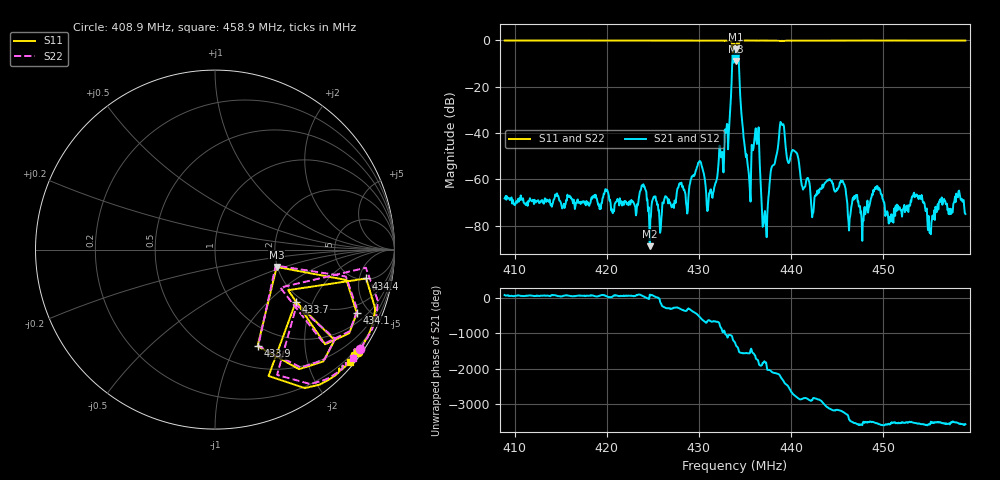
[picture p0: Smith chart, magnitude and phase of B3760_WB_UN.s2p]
! S-Parameter for B3760 in Touchstone format with Magnitude (lin) and Phase
! Normalised impedance: 50 Ohm. Measurement system: 50 Ohm. Ta=20°C
! B3760_50.S2P not matched. Measurement full 2-port calibrated incl. Port.Ext.
! Start: 408.920MHz, Stop: 458.920MHz, Span 50MHz 801 Pts., Step 0.062.5MHz.
! Date: 01/02/04 - EPCOS SAW CE AE PD; AGL
! Pinning according data sheet recommendation: IN P2, OUT P5, other GND
# MHz  S  MA  R  50
!  Freq  S11  S21  S12  S22
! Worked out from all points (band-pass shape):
!   801 points, 408.9 MHz to 458.9 MHz, reference 50 ohm
!   highest |S21| = -3.76 dB at 434 MHz (marker M1); lowest = -88.8 dB at 424.7 MHz (marker M2)
!   |S21| within 3 dB of the highest: 433.664 MHz to 433.6803 MHz (16.34 kHz wide, 0.00377 % of centre); 433.8872 MHz to 434.05 MHz (162.8 kHz wide, 0.0375 % of centre) (the widest 2 of 3)
!   lowest |S11| = -8.9 dB at 434 MHz (marker M3), VSWR 2.11, Z = 99.1 - j21.9 ohm
!   |S11| at or under -10 dB: nowhere
!   |S22| runs from -9.1 to -0.1 dB; largest |S21 - S12| = 0
!   S11 on the Smith chart (normalised r, x): 408.9 MHz: 0.10, -3.10; 433.7 MHz: 1.85, -1.50; 433.9 MHz: 0.75, -1.23; 434.1 MHz: 1.48, -4.18; 434.4 MHz: 5.21, -6.35; 458.9 MHz: 0.09, -2.77
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408.92  0.9807 -35.7  0.0003867 82.4  0.0003867 82.4  0.9801 -34.5
417.295  0.9821 -36.6  0.0003079 62.9  0.0003079 62.9  0.9796 -35.0
424.67  0.9805 -37.9  3.615e-05 92.5  3.615e-05 92.5  0.9789 -36.1
425.6075  0.9797 -37.7  0.00021 6.0  0.00021 6.0  0.9789 -36.2
430.045  0.9746 -38.8  0.002428 -167.3  0.002428 -167.3  0.9727 -37.3
431.6075  0.9789 -39.9  0.0005531 64.3  0.0005531 64.3  0.9781 -38.4
433.17  0.9706 -44.4  0.004435 3.4  0.004435 3.4  0.9696 -42.9
433.67  0.5359 -32.8  0.4837 -78.8  0.4837 -78.8  0.5502 -34.2
433.92  0.5881 -66.2  0.554 178.2  0.554 178.2  0.5877 -65.8
433.9825  0.357 -15.7  0.6488 129.4  0.6488 129.4  0.3498 -14.7
434.1075  0.866 -24.1  0.3535 69.0  0.3535 69.0  0.8622 -23.0
434.3575  0.8577 -10.8  0.2634 -78.8  0.2634 -78.8  0.8465 -6.9
435.3575  0.9814 -34.2  0.001665 -123.3  0.001665 -123.3  0.9795 -32.6
436.295  0.9789 -35.8  0.005768 61.4  0.005768 61.4  0.9776 -34.2
437.1075  0.9793 -36.7  0.0001747 11.1  0.0001747 11.1  0.9777 -35.0
438.9825  0.9649 -37.1  0.01526 -115.1  0.01526 -115.1  0.9621 -35.5
442.295  0.9801 -37.6  0.000152 -10.2  0.000152 -10.2  0.9792 -36.0
445.545  0.9806 -38.2  0.0009248 34.7  0.0009248 34.7  0.9792 -36.6
447.795  0.98 -38.4  0.00014 79.5  0.00014 79.5  0.9783 -36.8
449.3575  0.9802 -38.8  0.0007173 59.1  0.0007173 59.1  0.9785 -37.0
450.6075  0.981 -38.8  0.0001112 33.8  0.0001112 33.8  0.9782 -37.0
458.92  0.9789 -39.7  0.0001788 31.6  0.0001788 31.6  0.9767 -38.0
